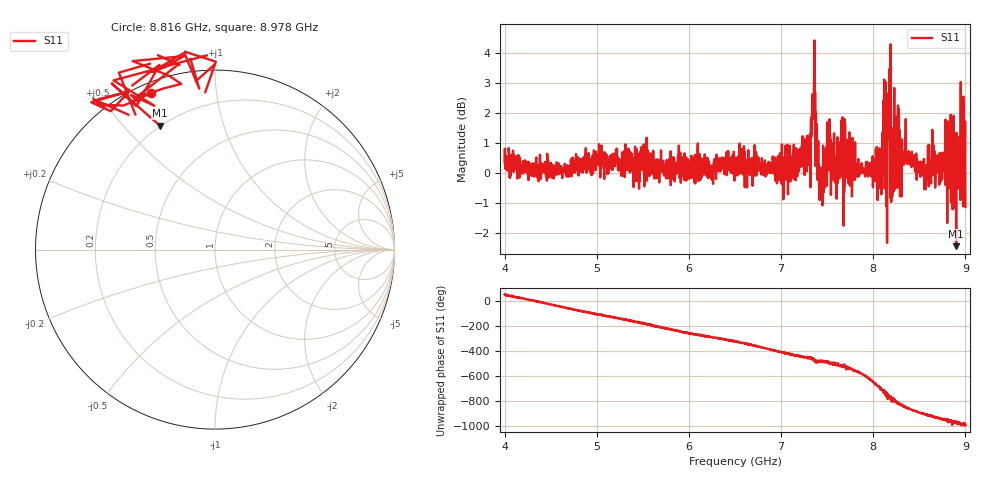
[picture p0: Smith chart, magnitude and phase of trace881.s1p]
! Created with skrf 1.8.0 (http://scikit-rf.org).
# Hz S RI R 50.0
!freq ReS11 ImS11
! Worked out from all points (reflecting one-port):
!   1601 points, 4 GHz to 9 GHz, reference 50 ohm
!   lowest |S11| = -2.4 dB at 8.9 GHz (marker M1), VSWR 7.16, Z = 9.86 + j31.6 ohm
!   phase of S11 starts at 53 deg and turns -1043 deg over the sweep
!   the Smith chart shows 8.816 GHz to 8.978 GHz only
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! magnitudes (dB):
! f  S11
! 4 GHz  0.4
! 4.625 GHz  -0.2
! 5.25 GHz  0.4
! 5.875 GHz  0.1
! 6.5 GHz  0.2
! 7.125 GHz  0.5
! 7.294 GHz  0.7
! 7.319 GHz  -0.5
! 7.347 GHz  2.5
! 7.381 GHz  0.4
! 7.4 GHz  0.3
! 7.438 GHz  -0.3
! 7.512 GHz  0.4
! 7.578 GHz  -0.1
! 7.669 GHz  1.5
! 7.75 GHz  0.3
! 8.066 GHz  0.8
! 8.116 GHz  1.2
! 8.178 GHz  3.5
! 8.216 GHz  0.7
! 8.253 GHz  1.1
! 8.312 GHz  1.1
! 8.375 GHz  0.5
! 8.544 GHz  -0.1
! 8.775 GHz  0.4
! 8.9 GHz  -2.4
! 8.972 GHz  0.4
! 9 GHz  -1.1
